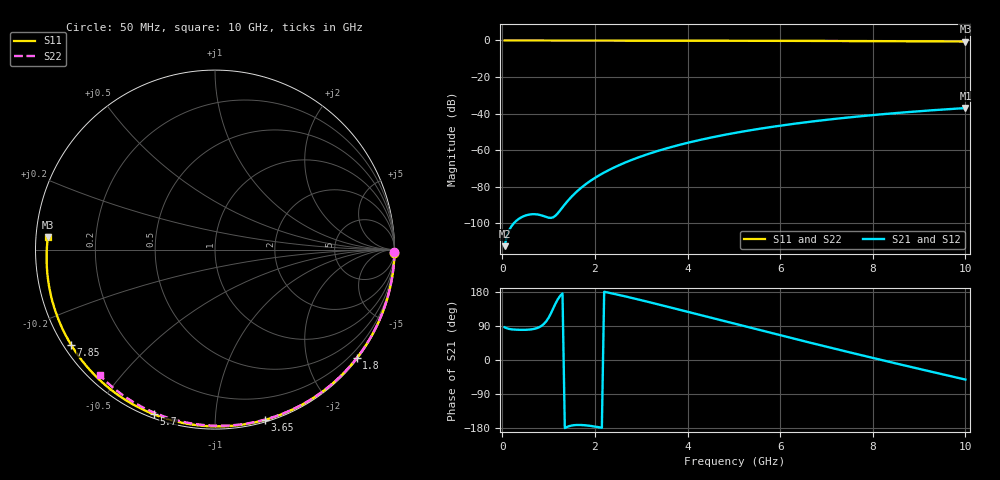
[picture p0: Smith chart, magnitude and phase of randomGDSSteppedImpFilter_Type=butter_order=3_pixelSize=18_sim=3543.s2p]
! freq	dB(S11)	phase(S11)	dB(S12)	phase(S12)
!  dB(S21)	phase(S21)	dB(S22)	phase(S22)
!S-par simulation data
#  GHz  S  DB  R 50
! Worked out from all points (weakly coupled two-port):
!   200 points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, 50 MHz to 10 GHz, reference 50 ohm
!   highest |S21| = -37.00 dB at 10 GHz (marker M1); lowest = -112.5 dB at 50 MHz (marker M2)
!   lowest |S11| = -0.6 dB at 10 GHz (marker M3), VSWR 29.21, Z = 1.71 + j1.86 ohm
!   |S11| at or under -10 dB: nowhere
!   |S22| runs from -0.4 to 0.0 dB; largest |S21 - S12| = 0
!   S11 on the Smith chart (normalised r, x): 50 MHz: open; 1.8 GHz: 0.03, -2.94; 3.65 GHz: 0.02, -1.34; 5.7 GHz: 0.02, -0.70; 7.85 GHz: 0.02, -0.30; 10 GHz: 0.03, +0.04
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0.05  -0.00 -1.1  -112.53 86.4  -112.53 86.4  -0.00 -0.8
0.45  -0.01 -9.6  -96.27 79.6  -96.27 79.6  -0.01 -6.9
0.85  -0.02 -17.9  -95.72 90.4  -95.72 90.4  -0.02 -13.0
1.25  -0.03 -26.3  -92.94 169.3  -92.94 169.3  -0.02 -19.0
1.7  -0.05 -35.5  -80.65 -171.5  -80.65 -171.5  -0.03 -25.7
1.75  -0.05 -36.5  -79.63 -171.9  -79.63 -171.9  -0.03 -26.4
1.8  -0.05 -37.5  -78.66 -172.4  -78.66 -172.4  -0.03 -27.2
2.1  -0.06 -43.6  -73.67 -177.7  -73.67 -177.7  -0.04 -31.6
2.5  -0.07 -51.5  -68.48 172.2  -68.48 172.2  -0.05 -37.5
2.9  -0.08 -59.4  -64.33 160.8  -64.33 160.8  -0.06 -43.2
3.4  -0.09 -68.9  -60.11 145.8  -60.11 145.8  -0.07 -50.3
3.65  -0.10 -73.6  -58.29 138.1  -58.29 138.1  -0.07 -53.9
4.35  -0.12 -86.5  -53.96 116.3  -53.96 116.3  -0.09 -63.5
5.05  -0.15 -99.0  -50.46 94.6  -50.46 94.6  -0.11 -72.8
5.7  -0.18 -110.3  -47.74 74.5  -47.74 74.5  -0.14 -81.3
6.2  -0.21 -118.9  -45.92 59.2  -45.92 59.2  -0.16 -87.6
6.7  -0.25 -127.3  -44.30 44.1  -44.30 44.1  -0.18 -93.8
7.3  -0.29 -137.4  -42.58 26.1  -42.58 26.1  -0.22 -101.2
7.85  -0.34 -146.6  -41.18 9.9  -41.18 9.9  -0.25 -107.7
8.35  -0.39 -155.1  -40.04 -4.7  -40.04 -4.7  -0.29 -113.6
9.2  -0.49 -169.8  -38.34 -29.1  -38.34 -29.1  -0.36 -123.4
10  -0.59 175.7  -37.00 -51.6  -37.00 -51.6  -0.45 -132.5
